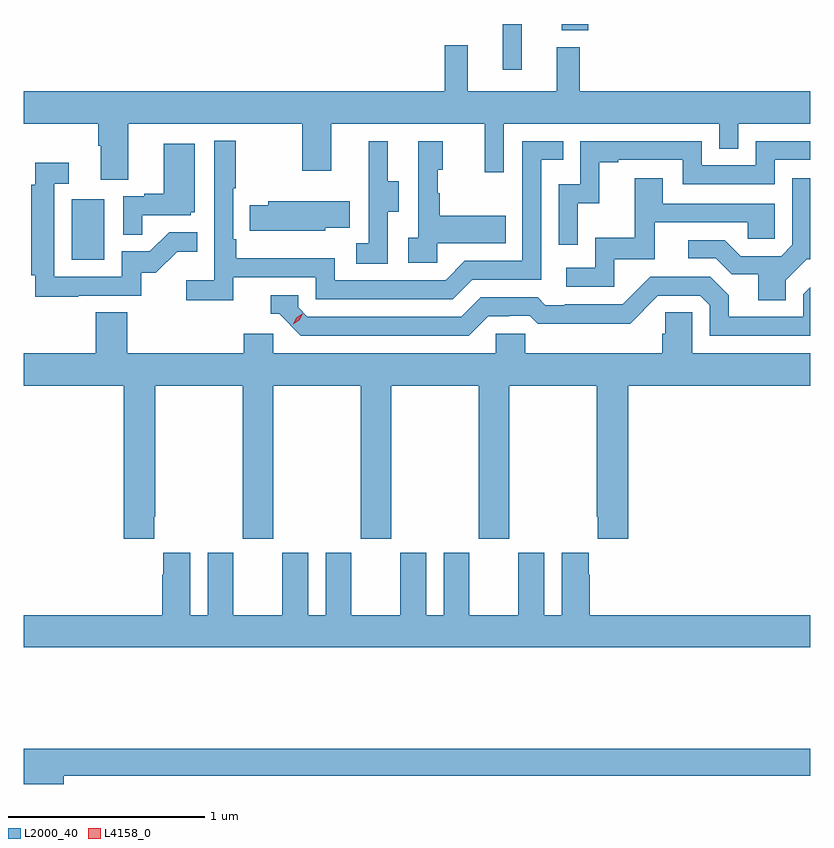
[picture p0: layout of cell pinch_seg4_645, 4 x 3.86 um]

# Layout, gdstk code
import gdstk
lib = gdstk.Library(unit=1e-6, precision=1e-09)
def R(c, l, rs):  # rectangles x0, y0, x1, y1
    for r in rs: c.add(gdstk.rectangle(r[:2], r[2:], *l))
def P(c, l, *ps):  # polygons
    for p in ps: c.add(gdstk.Polygon(p, *l))
L2000_40 = (2000, 40)
L4158_0 = (4158, 0)

pinch_seg4_645 = lib.new_cell('pinch_seg4_645')
R(pinch_seg4_645, L2000_40, [(1076.63,768.156,1076.794,768.463), (1078.82,769.122,1078.917,769.354), (1079.12,769.322,1079.255,769.354)])
P(pinch_seg4_645, L2000_40, [(1076.917,768.848),(1077.802,768.848),(1077.802,768.609),(1077.949,768.609),(1077.949,768.848),(1078.73,768.848),(1078.73,768.6),(1078.827,768.6),(1078.827,768.848),(1079.922,768.848),(1079.922,768.721),(1080.018,768.721),(1080.018,768.848),(1080.385,768.848),(1080.385,769.012),(1079.213,769.012),(1079.213,769.237),(1079.096,769.237),(1079.096,769.012),(1078.643,769.012),(1078.643,769.246),(1078.525,769.246),(1078.525,769.012),(1076.385,769.012),(1076.385,768.848),(1076.765,768.848),(1076.765,768.736),(1076.777,768.736),(1076.777,768.562),(1076.917,768.562)],
  [(1077.452,768.066),(1077.87,768.066),(1077.87,767.955),(1078.567,767.955),(1078.666,768.054),(1079.016,768.054),(1079.016,768.663),(1079.129,768.663),(1079.129,768.759),(1078.92,768.759),(1078.92,768.15),(1078.629,768.15),(1078.53,768.051),(1077.966,768.051),(1077.966,768.163),(1077.467,768.163),(1077.467,768.259),(1077.45,768.259),(1077.45,768.52),(1077.463,768.52),(1077.463,768.76),(1077.354,768.76),(1077.354,768.052),(1077.213,768.052),(1077.213,767.95),(1077.452,767.95)],
  [(1079.202,768.443),(1079.312,768.443),(1079.312,768.651),(1079.407,768.651),(1079.407,768.663),(1079.736,768.663),(1079.736,768.54),(1080.204,768.54),(1080.204,768.663),(1080.385,768.663),(1080.385,768.759),(1080.108,768.759),(1080.108,768.636),(1079.832,768.636),(1079.832,768.759),(1079.214,768.759),(1079.214,768.54),(1079.106,768.54),(1079.106,768.231),(1079.202,768.231)],
  [(1078.236,768.4),(1078.291,768.4),(1078.291,768.555),(1078.237,768.555),(1078.237,768.757),(1078.139,768.757),(1078.139,768.543),(1078.14,768.543),(1078.14,768.239),(1078.077,768.239),(1078.077,768.136),(1078.236,768.136)],
  [(1078.488,768.239),(1078.835,768.239),(1078.835,768.379),(1078.501,768.379),(1078.501,768.494),(1078.491,768.494),(1078.491,768.612),(1078.516,768.612),(1078.516,768.757),(1078.392,768.757),(1078.392,768.266),(1078.341,768.266),(1078.341,768.141),(1078.488,768.141)],
  [(1076.987,768.381),(1077.234,768.381),(1077.234,768.396),(1077.256,768.396),(1077.256,768.745),(1077.098,768.745),(1077.098,768.49),(1076.999,768.49),(1076.999,768.477),(1076.892,768.477),(1076.892,768.283),(1076.987,768.283)],
  [(1076.663,767.973),(1076.982,767.973),(1076.982,768.09),(1077.058,768.09),(1077.165,768.197),(1077.269,768.197),(1077.269,768.296),(1077.125,768.296),(1077.027,768.198),(1076.883,768.198),(1076.883,768.069),(1076.541,768.069),(1076.541,768.543),(1076.614,768.543),(1076.614,768.649),(1076.444,768.649),(1076.444,768.536),(1076.425,768.536),(1076.425,768.076),(1076.444,768.076),(1076.444,767.968),(1076.663,767.968)],
  [(1080.259,768.052),(1080.366,768.159),(1080.385,768.159),(1080.385,768.571),(1080.294,768.571),(1080.294,768.231),(1080.237,768.174),(1080.031,768.174),(1079.95,768.255),(1079.763,768.255),(1079.763,768.162),(1079.904,768.162),(1079.984,768.082),(1080.119,768.082),(1080.119,767.95),(1080.259,767.95)],
  [(1079.388,768.159),(1079.593,768.159),(1079.593,768.345),(1080.067,768.345),(1080.067,768.261),(1080.204,768.261),(1080.204,768.441),(1079.635,768.441),(1079.635,768.571),(1079.491,768.571),(1079.491,768.268),(1079.292,768.268),(1079.292,768.114),(1079.145,768.114),(1079.145,768.018),(1079.388,768.018)],
  [(1077.918,768.317),(1078.043,768.317),(1078.043,768.454),(1077.629,768.454),(1077.629,768.432),(1077.535,768.432),(1077.535,768.303),(1077.646,768.303),(1077.646,768.302),(1077.918,768.302)],
  [(1078.747,767.868),(1078.854,767.868),(1078.854,767.871),(1078.957,767.871),(1078.999,767.829),(1079.232,767.829),(1079.232,767.831),(1079.468,767.831),(1079.61,767.973),(1079.826,767.973),(1079.874,767.925),(1079.874,767.769),(1080.385,767.769),(1080.385,768.016),(1080.348,767.979),(1080.348,767.865),(1079.971,767.865),(1079.971,767.975),(1079.877,768.069),(1079.571,768.069),(1079.43,767.928),(1079.137,767.928),(1079.137,767.925),(1079.038,767.925),(1078.999,767.964),(1078.71,767.964),(1078.611,767.865),(1077.828,767.865),(1077.78,767.913),(1077.78,767.976),(1077.641,767.976),(1077.641,767.88),(1077.684,767.88),(1077.795,767.769),(1078.648,767.769)],
  [(1077.049,766.849),(1077.054,766.849),(1077.054,767.516),(1077.499,767.516),(1077.499,766.737),(1077.654,766.737),(1077.654,767.516),(1078.099,767.516),(1078.099,766.737),(1078.254,766.737),(1078.254,767.516),(1078.699,767.516),(1078.699,766.737),(1078.854,766.737),(1078.854,767.516),(1079.299,767.516),(1079.299,766.849),(1079.303,766.849),(1079.303,766.737),(1079.459,766.737),(1079.459,767.516),(1080.385,767.516),(1080.385,767.68),(1079.784,767.68),(1079.784,767.888),(1079.647,767.888),(1079.647,767.778),(1079.633,767.778),(1079.633,767.68),(1078.935,767.68),(1078.935,767.778),(1078.785,767.778),(1078.785,767.68),(1077.654,767.68),(1077.654,767.778),(1077.503,767.778),(1077.503,767.68),(1076.912,767.68),(1076.912,767.888),(1076.752,767.888),(1076.752,767.68),(1076.385,767.68),(1076.385,767.516),(1076.894,767.516),(1076.894,766.737),(1077.049,766.737)],
  [(1080.385,766.348),(1079.264,766.348),(1079.264,766.553),(1079.257,766.553),(1079.257,766.666),(1079.12,766.666),(1079.12,766.348),(1079.032,766.348),(1079.032,766.666),(1078.901,766.666),(1078.901,766.348),(1078.651,766.348),(1078.651,766.666),(1078.52,766.666),(1078.52,766.348),(1078.432,766.348),(1078.432,766.666),(1078.301,766.666),(1078.301,766.348),(1078.051,766.348),(1078.051,766.666),(1077.92,766.666),(1077.92,766.348),(1077.832,766.348),(1077.832,766.666),(1077.701,766.666),(1077.701,766.348),(1077.451,766.348),(1077.451,766.666),(1077.32,766.666),(1077.32,766.348),(1077.232,766.348),(1077.232,766.666),(1077.095,766.666),(1077.095,766.553),(1077.089,766.553),(1077.089,766.348),(1076.385,766.348),(1076.385,766.184),(1080.385,766.184)],
  [(1076.59,765.532),(1080.385,765.532),(1080.385,765.668),(1076.385,765.668),(1076.385,765.49),(1076.59,765.49)])
P(pinch_seg4_645, L4158_0, [(1077.756,767.828),(1077.756,767.828),(1077.772,767.861),(1077.802,767.88),(1077.803,767.88),(1077.803,767.88),(1077.787,767.848),(1077.756,767.828)])

lib.write_gds('pinch_seg4_645.gds')
